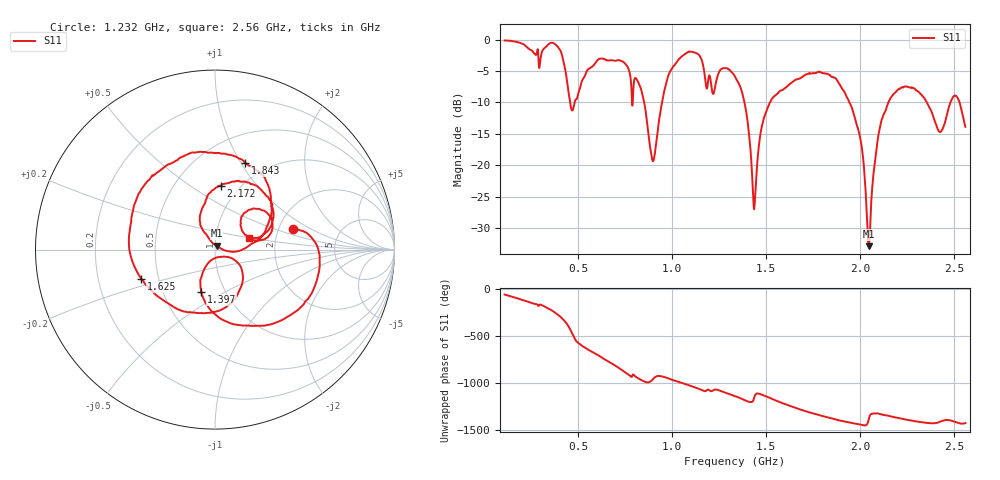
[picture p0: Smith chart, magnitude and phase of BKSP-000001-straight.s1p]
# MHz S MA R 50
!  freq  S11
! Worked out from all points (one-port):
!   1000 points, 108 MHz to 2.56 GHz, reference 50 ohm
!   lowest |S11| = -32.9 dB at 2.047 GHz (marker M1), VSWR 1.05, Z = 50.8 + j2.14 ohm
!   |S11| at or under -10 dB: 1.384 GHz to 1.52 GHz (136 MHz wide, 9.37 % of centre); 1.943 GHz to 2.15 GHz (207.2 MHz wide, 10.1 % of centre); 2.355 GHz to 2.481 GHz (126 MHz wide, 5.21 % of centre)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
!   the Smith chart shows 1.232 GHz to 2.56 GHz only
!   S11 on the Smith chart (normalised r, x): 1.232 GHz: 2.41, +0.69; 1.397 GHz: 0.77, -0.39; 1.625 GHz: 0.40, -0.16; 1.843 GHz: 0.80, +1.04; 2.172 GHz: 0.82, +0.67; 2.56 GHz: 1.46, +0.19
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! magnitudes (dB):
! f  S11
! 108 MHz  -0.1
! 414.8 MHz  -2.6
! 468.8 MHz  -11.3
! 601.3 MHz  -3.3
! 721.6 MHz  -3.3
! 829.6 MHz  -7.5
! 898.3 MHz  -19.4
! 967.1 MHz  -7.1
! 1.028 GHz  -3.4
! 1.132 GHz  -2.2
! 1.232 GHz  -6.9
! 1.269 GHz  -4.6
! 1.335 GHz  -6.0
! 1.397 GHz  -12.1
! 1.438 GHz  -26.3
! 1.492 GHz  -12.1
! 1.625 GHz  -7.1
! 1.642 GHz  -6.7
! 1.843 GHz  -5.8
! 1.949 GHz  -10.4
! 2.005 GHz  -16.5
! 2.047 GHz  -32.9
! 2.101 GHz  -14.6
! 2.172 GHz  -8.9
! 2.256 GHz  -7.6
! 2.423 GHz  -14.7
! 2.504 GHz  -8.9
! 2.56 GHz  -13.9
